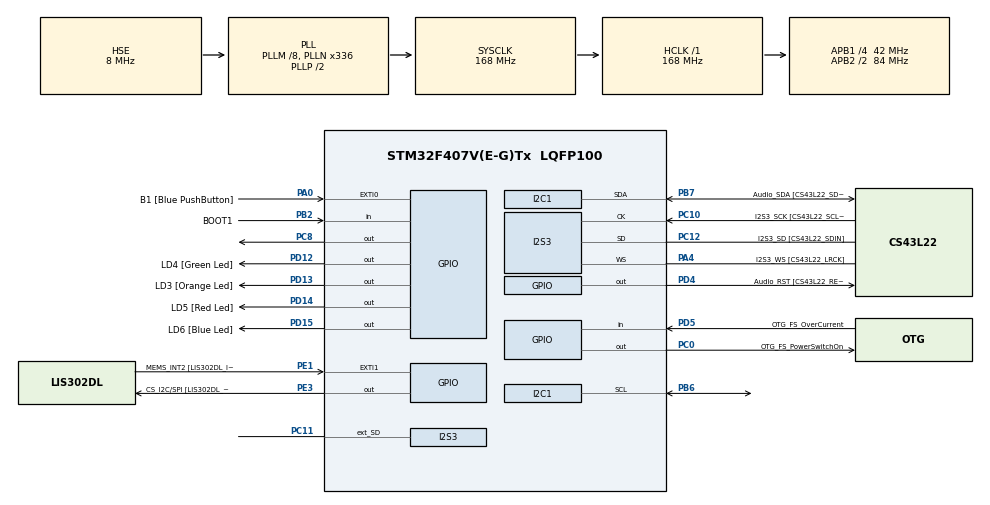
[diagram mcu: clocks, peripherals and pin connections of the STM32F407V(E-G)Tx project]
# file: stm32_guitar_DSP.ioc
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Dma.I2S3_EXT_RX.1.Direction=DMA_PERIPH_TO_MEMORY
Dma.I2S3_EXT_RX.1.FIFOMode=DMA_FIFOMODE_DISABLE
Dma.I2S3_EXT_RX.1.Instance=DMA1_Stream0
Dma.I2S3_EXT_RX.1.MemDataAlignment=DMA_MDATAALIGN_HALFWORD
Dma.I2S3_EXT_RX.1.MemInc=DMA_MINC_ENABLE
Dma.I2S3_EXT_RX.1.Mode=DMA_CIRCULAR
Dma.I2S3_EXT_RX.1.PeriphDataAlignment=DMA_PDATAALIGN_HALFWORD
Dma.I2S3_EXT_RX.1.PeriphInc=DMA_PINC_DISABLE
Dma.I2S3_EXT_RX.1.Priority=DMA_PRIORITY_HIGH
Dma.Request0=SPI3_TX
Dma.Request1=I2S3_EXT_RX
Dma.SPI3_TX.0.Direction=DMA_MEMORY_TO_PERIPH
Dma.SPI3_TX.0.FIFOMode=DMA_FIFOMODE_DISABLE
Dma.SPI3_TX.0.Instance=DMA1_Stream5
Dma.SPI3_TX.0.MemDataAlignment=DMA_MDATAALIGN_HALFWORD
Dma.SPI3_TX.0.MemInc=DMA_MINC_ENABLE
Dma.SPI3_TX.0.Mode=DMA_CIRCULAR
Dma.SPI3_TX.0.PeriphDataAlignment=DMA_PDATAALIGN_HALFWORD
Dma.SPI3_TX.0.PeriphInc=DMA_PINC_DISABLE
Dma.SPI3_TX.0.Priority=DMA_PRIORITY_HIGH
I2S3.AudioFreq=I2S_AUDIOFREQ_48K
I2S3.ErrorAudioFreq=-0.01 %
I2S3.FullDuplexMode=I2S_FULLDUPLEXMODE_ENABLE
I2S3.Instance=SPI$Index
I2S3.RealAudioFreq=47.991 KHz
I2S3.Standard=I2S_STANDARD_PHILIPS
I2S3.VirtualMode=I2S_MODE_SLAVE
Mcu.Family=STM32F4
Mcu.Name=STM32F407V(E-G)Tx
Mcu.Package=LQFP100
NVIC.DMA1_Stream0_IRQn=true\:0\:0\:false\:false\:true\:false\:true\:true
NVIC.DMA1_Stream5_IRQn=true\:0\:0\:false\:false\:true\:false\:true\:true
NVIC.PriorityGroup=NVIC_PRIORITYGROUP_0
PA0-WKUP.GPIO_Label=B1 [Blue PushButton]
PA0-WKUP.GPIO_ModeDefaultEXTI=GPIO_MODE_EVT_RISING
PA0-WKUP.GPIO_PuPd=GPIO_NOPULL
PA0-WKUP.Signal=GPXTI0
PA10.GPIO_Label=OTG_FS_ID
PA10.GPIO_Mode=GPIO_MODE_AF_PP
PA10.GPIO_PuPd=GPIO_NOPULL
PA10.GPIO_Speed=GPIO_SPEED_FREQ_LOW
PA10.Signal=USB_OTG_FS_ID
PA11.GPIO_Label=OTG_FS_DM
PA11.GPIO_Mode=GPIO_MODE_AF_PP
PA11.GPIO_PuPd=GPIO_NOPULL
PA11.GPIO_Speed=GPIO_SPEED_FREQ_LOW
PA11.Signal=USB_OTG_FS_DM
PA12.GPIO_Label=OTG_FS_DP
PA12.GPIO_Mode=GPIO_MODE_AF_PP
PA12.GPIO_PuPd=GPIO_NOPULL
PA12.GPIO_Speed=GPIO_SPEED_FREQ_LOW
PA12.Signal=USB_OTG_FS_DP
PA13.GPIO_Label=SWDIO
PA13.Mode=Serial_Wire
PA13.Signal=SYS_JTMS-SWDIO
PA14.GPIO_Label=SWCLK
PA14.Mode=Serial_Wire
PA14.Signal=SYS_JTCK-SWCLK
PA4.GPIO_Label=I2S3_WS [CS43L22_LRCK]
PA4.GPIO_Mode=GPIO_MODE_AF_PP
PA4.GPIO_PuPd=GPIO_NOPULL
PA4.GPIO_Speed=GPIO_SPEED_FREQ_LOW
PA4.Mode=Full_Duplex_Slave
PA4.Signal=I2S3_WS
PA5.GPIO_Label=SPI1_SCK [LIS302DL_SCL/SPC]
PA5.GPIO_Mode=GPIO_MODE_AF_PP
PA5.GPIO_PuPd=GPIO_NOPULL
PA5.GPIO_Speed=GPIO_SPEED_FREQ_LOW
PA5.Signal=SPI1_SCK
PA6.GPIO_Label=SPI1_MISO [LIS302DL_SDO]
PA6.GPIO_Mode=GPIO_MODE_AF_PP
PA6.GPIO_PuPd=GPIO_NOPULL
PA6.GPIO_Speed=GPIO_SPEED_FREQ_LOW
PA6.Signal=SPI1_MISO
PA7.GPIO_Label=SPI1_MOSI [LIS302DL_SDA/SDI/SDO]
PA7.GPIO_Mode=GPIO_MODE_AF_PP
PA7.GPIO_PuPd=GPIO_NOPULL
PA7.GPIO_Speed=GPIO_SPEED_FREQ_LOW
PA7.Signal=SPI1_MOSI
PA9.GPIO_Label=VBUS_FS
PA9.GPIO_Mode=GPIO_MODE_INPUT
PA9.GPIO_PuPd=GPIO_NOPULL
PA9.Signal=USB_OTG_FS_VBUS
PB10.GPIO_Label=CLK_IN [MP45DT02_CLK]
PB10.GPIO_Mode=GPIO_MODE_AF_PP
PB10.GPIO_PuPd=GPIO_NOPULL
PB10.GPIO_Speed=GPIO_SPEED_FREQ_LOW
PB10.Signal=I2S2_CK
PB2.GPIO_Label=BOOT1
PB2.GPIO_Mode=GPIO_MODE_INPUT
PB2.GPIO_PuPd=GPIO_NOPULL
PB2.Signal=GPIO_Input
PB3.GPIO_Label=SWO
PB3.Signal=SYS_JTDO-SWO
PB6.Mode=I2C
PB6.Signal=I2C1_SCL
PB7.GPIO_Label=Audio_SDA [CS43L22_SDA]
PB7.GPIO_Mode=GPIO_MODE_AF_OD
PB7.GPIO_Pu=GPIO_PULLUP
PB7.GPIO_Speed=GPIO_SPEED_FREQ_LOW
PB7.Mode=I2C
PB7.Signal=I2C1_SDA
PC0.GPIO_Label=OTG_FS_PowerSwitchOn
PC0.GPIO_PuPd=GPIO_NOPULL
PC0.GPIO_Speed=GPIO_SPEED_FREQ_LOW
PC0.PinState=GPIO_PIN_SET
PC0.Signal=GPIO_Output
PC10.GPIO_Label=I2S3_SCK [CS43L22_SCLK]
PC10.GPIO_Mode=GPIO_MODE_AF_PP
PC10.GPIO_PuPd=GPIO_NOPULL
PC10.GPIO_Speed=GPIO_SPEED_FREQ_LOW
PC10.Mode=Full_Duplex_Slave
PC10.Signal=I2S3_CK
PC11.Mode=Full_Duplex_Slave
PC11.Signal=I2S3_ext_SD
PC12.GPIO_Label=I2S3_SD [CS43L22_SDIN]
PC12.GPIO_Mode=GPIO_MODE_AF_PP
PC12.GPIO_PuPd=GPIO_NOPULL
PC12.GPIO_Speed=GPIO_SPEED_FREQ_LOW
PC12.Mode=Full_Duplex_Slave
PC12.Signal=I2S3_SD
PC14-OSC32_IN.GPIO_Label=PC14-OSC32_IN
PC14-OSC32_IN.Mode=LSE-External-Oscillator
PC14-OSC32_IN.Signal=RCC_OSC32_IN
PC15-OSC32_OUT.GPIO_Label=PC15-OSC32_OUT
PC15-OSC32_OUT.Mode=LSE-External-Oscillator
PC15-OSC32_OUT.Signal=RCC_OSC32_OUT
PC3.GPIO_Label=PDM_OUT [MP45DT02_DOUT]
PC3.GPIO_Mode=GPIO_MODE_AF_PP
PC3.GPIO_PuPd=GPIO_NOPULL
PC3.GPIO_Speed=GPIO_SPEED_FREQ_LOW
PC3.Signal=I2S2_SD
PC7.GPIO_Label=I2S3_MCK [CS43L22_MCLK]
PC7.GPIO_Mode=GPIO_MODE_AF_PP
PC7.GPIO_PuPd=GPIO_NOPULL
PC7.GPIO_Speed=GPIO_SPEED_FREQ_LOW
PC7.Signal=I2S3_MCK
PC8.Signal=GPIO_Output
PD12.GPIO_Label=LD4 [Green Led]
PD12.GPIO_PuPd=GPIO_NOPULL
PD12.GPIO_Speed=GPIO_SPEED_FREQ_LOW
PD12.Signal=GPIO_Output
PD13.GPIO_Label=LD3 [Orange Led]
PD13.GPIO_PuPd=GPIO_NOPULL
PD13.GPIO_Speed=GPIO_SPEED_FREQ_LOW
PD13.Signal=GPIO_Output
PD14.GPIO_Label=LD5 [Red Led]
PD14.GPIO_PuPd=GPIO_NOPULL
PD14.GPIO_Speed=GPIO_SPEED_FREQ_LOW
PD14.Signal=GPIO_Output
PD15.GPIO_Label=LD6 [Blue Led]
PD15.GPIO_PuPd=GPIO_NOPULL
PD15.GPIO_Speed=GPIO_SPEED_FREQ_LOW
PD15.Signal=GPIO_Output
PD4.GPIO_Label=Audio_RST [CS43L22_RESET]
PD4.GPIO_PuPd=GPIO_NOPULL
PD4.GPIO_Speed=GPIO_SPEED_FREQ_LOW
PD4.Signal=GPIO_Output
PD5.GPIO_Label=OTG_FS_OverCurrent
PD5.GPIO_Mode=GPIO_MODE_INPUT
PD5.GPIO_PuPd=GPIO_NOPULL
PD5.Signal=GPIO_Input
PE1.GPIO_Label=MEMS_INT2 [LIS302DL_INT2]
PE1.GPIO_ModeDefaultEXTI=GPIO_MODE_EVT_RISING
PE1.GPIO_PuPd=GPIO_NOPULL
PE1.Signal=GPXTI1
PE3.GPIO_Label=CS_I2C/SPI [LIS302DL_CS_I2C/SPI]
PE3.GPIO_PuPd=GPIO_NOPULL
PE3.GPIO_Speed=GPIO_SPEED_FREQ_LOW
PE3.Signal=GPIO_Output
PH0-OSC_IN.GPIO_Label=PH0-OSC_IN
PH0-OSC_IN.Mode=HSE-External-Oscillator
PH0-OSC_IN.Signal=RCC_OSC_IN
PH1-OSC_OUT.GPIO_Label=PH1-OSC_OUT
PH1-OSC_OUT.Mode=HSE-External-Oscillator
PH1-OSC_OUT.Signal=RCC_OSC_OUT
ProjectManager.HeapSize=0x200
ProjectManager.StackSize=0x400
ProjectManager.TargetToolchain=STM32CubeIDE
RCC.48MHZClocksFreq_Value=48000000
RCC.AHBFreq_Value=168000000
RCC.APB1CLKDivider=RCC_HCLK_DIV4
RCC.APB1Freq_Value=42000000
RCC.APB1TimFreq_Value=84000000
RCC.APB2CLKDivider=RCC_HCLK_DIV2
RCC.APB2Freq_Value=84000000
RCC.APB2TimFreq_Value=168000000
RCC.CortexFreq_Value=168000000
RCC.HCLKFreq_Value=168000000
RCC.HSE_VALUE=8000000
RCC.HSI_VALUE=16000000
RCC.PLLI2SN=344
RCC.PLLM=8
RCC.PLLN=336
RCC.PLLQ=7
RCC.PLLSourceVirtual=RCC_PLLSOURCE_HSE
RCC.SYSCLKFreq_VALUE=168000000
RCC.SYSCLKSource=RCC_SYSCLKSOURCE_PLLCLK
RCC.VCOOutputFreq_Value=336000000
board=STM32F407G-DISC1

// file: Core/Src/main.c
/* USER CODE BEGIN Header */
/**
  ******************************************************************************
  * @file           : main.c
  * @brief          : Main program body
  ******************************************************************************
  * @attention
  *
  * Copyright (c) 2026 STMicroelectronics.
  * All rights reserved.
  *
  * This software is licensed under terms that can be found in the LICENSE file
  * in the root directory of this software component.
  * If no LICENSE file comes with this software, it is provided AS-IS.
  *
  ******************************************************************************
  */
/* USER CODE END Header */
#include "main.h"

/* USER CODE BEGIN Includes */
#include "wm8731.h"
#include <string.h>
#include "audio.h"
#include "esp32.h"
#include "fft.h"
/* USER CODE END Includes */

I2C_HandleTypeDef hi2c1;

I2S_HandleTypeDef hi2s3;
DMA_HandleTypeDef hdma_spi3_tx;
DMA_HandleTypeDef hdma_i2s3_ext_rx;

/* USER CODE BEGIN PV */
// 4 ramki stereo = 8 półsłów -> przerwanie co 2 ramki (24 kHz). Przy 256 (64 ramki na połówkę)
// CPU pracował zrywami co 1.33 ms i to wchodziło do ADC kodeka jako pisk 750 Hz + harmoniczne.
// Teraz zakłócenia lądują na 24 kHz, poza pasmem.
#define I2S_BUF_HALFWORDS 8
volatile int16_t i2s_rx_buf[I2S_BUF_HALFWORDS];
volatile int16_t i2s_tx_buf[I2S_BUF_HALFWORDS];

// liczniki błędów I2S (podgląd w debuggerze)
volatile uint8_t  i2s_error_flag = 0;
volatile uint32_t i2s_error_count = 0;
volatile uint32_t i2s_last_error = 0;

volatile uint32_t cnt_fre = 0, cnt_udr = 0, cnt_ovr = 0;

static uint8_t codec_fault = 0;      // błąd inicjalizacji kodeka (niebieska LED)
static uint8_t linvol_set = 0xFF;    // linvol zapisany w kodeku, 0xFF = zapisz jeszcze raz
static int8_t out_db_set = 0;        // out_db zapisany w kodeku (WM8731_Init ustawia 0 dB)
/* USER CODE END PV */

void SystemClock_Config(void);
static void MX_GPIO_Init(void);
static void MX_DMA_Init(void);
static void MX_I2C1_Init(void);
static void MX_I2S3_Init(void);

/* USER CODE BEGIN 0 */

static void Audio_Restart(void)
{
    // Bez przerwań audio na czas restartu (Audio_Process nie może wejść w połowie)
    HAL_NVIC_DisableIRQ(DMA1_Stream0_IRQn);
    HAL_NVIC_DisableIRQ(DMA1_Stream5_IRQn);

    HAL_I2S_DMAStop(&hi2s3);
    memset((void*)i2s_tx_buf, 0, sizeof(i2s_tx_buf));
    memset((void*)i2s_rx_buf, 0, sizeof(i2s_rx_buf));

    WM8731_Init(&hi2c1);
    linvol_set = 0xFF;   // reset kodeka przywrócił domyślne wzmocnienie wejścia
    out_db_set = 0;      // i wyjście 0 dB

    __HAL_RCC_SPI3_FORCE_RESET();
    __HAL_RCC_SPI3_RELEASE_RESET();
    MX_I2S3_Init();

    HAL_NVIC_EnableIRQ(DMA1_Stream0_IRQn);
    HAL_NVIC_EnableIRQ(DMA1_Stream5_IRQn);

    HAL_I2SEx_TransmitReceive_DMA(&hi2s3, (uint16_t*)i2s_tx_buf,
                                  (uint16_t*)i2s_rx_buf, I2S_BUF_HALFWORDS);
    __HAL_DMA_DISABLE_IT(&hdma_spi3_tx, DMA_IT_TC);   // TX nie ma callbacków, jego przerwanie to tylko dodatkowe zakłócenia
    HAL_Delay(10);
    WM8731_SyncInit(&hi2c1);
}

/* USER CODE END 0 */

int main(void)
{

  /* MCU Configuration--------------------------------------------------------*/

  /* Reset of all peripherals, Initializes the Flash interface and the Systick. */
  HAL_Init();

  /* Configure the system clock */
  SystemClock_Config();

  /* Initialize all configured peripherals */
  MX_GPIO_Init();
  MX_DMA_Init();
  MX_I2C1_Init();
  MX_I2S3_Init();
  /* USER CODE BEGIN 2 */
  HAL_NVIC_SetPriority(SPI3_IRQn, 1, 0);
  HAL_NVIC_EnableIRQ(SPI3_IRQn);
  Audio_Init();
  HAL_Delay(5);

  memset((void*)i2s_tx_buf, 0, sizeof(i2s_tx_buf));
  memset((void*)i2s_rx_buf, 0, sizeof(i2s_rx_buf));

  if (WM8731_Init(&hi2c1) != HAL_OK) {
	  GPIOD->ODR |= (1 << 15);
	  codec_fault = 1;
  }

  __HAL_RCC_SPI3_FORCE_RESET();
  __HAL_RCC_SPI3_RELEASE_RESET();

  MX_I2S3_Init();

  if (HAL_I2SEx_TransmitReceive_DMA(&hi2s3,
            (uint16_t*)i2s_tx_buf,
            (uint16_t*)i2s_rx_buf,
            I2S_BUF_HALFWORDS) != HAL_OK) {
	  GPIOD->ODR |= (1 << 14);
        Error_Handler();
  }
  __HAL_DMA_DISABLE_IT(&hdma_spi3_tx, DMA_IT_TC);

  HAL_Delay(10);

  if (WM8731_SyncInit(&hi2c1) != HAL_OK) {
  	  GPIOD->ODR |= (1 << 15);
  	  codec_fault = 1;
    }

  // UART do ESP32 (USART3 PD8/PD9), wysyła "HELLO"
  ESP32_Init();

  /* USER CODE END 2 */

  /* Infinite loop */
  while (1)
  {

    /* USER CODE BEGIN 3 */
	  // I2S fail restart
	  uint32_t sr3 = SPI3->SR;
	  uint32_t srx = I2S3ext->SR;
	  if (sr3 & SPI_SR_FRE) cnt_fre++;
	  if (sr3 & SPI_SR_UDR) cnt_udr++;
	  if (srx & SPI_SR_OVR) cnt_ovr++;
	  if (cnt_fre) {
	      cnt_fre = 0;
	      Audio_Restart();
	  }

	  // komendy z ESP32
	  ESP32_Poll();

	  // nowe współczynniki filtrów, gdy zmieniły się parametry
	  Audio_Update();

	  // wzmocnienie wejścia kodeka, tylko po zmianie (nigdy ponad 0 dB - ADC kodeka się zawiesza)
	  uint8_t linvol = (uint8_t)audio_params.linvol;
	  if (linvol > WM8731_LINVOL_MAX) linvol = WM8731_LINVOL_MAX;
	  if (linvol != linvol_set) {
		  if (WM8731_SetLineInVolume(&hi2c1, linvol) == HAL_OK)
			  linvol_set = linvol;
	  }

	  // głośność wyjścia słuchawkowego, tylko po zmianie. Tłumienie analogowe w kodeku (za DAC),
	  // więc szum DAC spada razem z sygnałem - inaczej niż przy cyfrowym volume
	  int8_t out_db = (int8_t)audio_params.out_db;
	  if (out_db != out_db_set) {
		  if (WM8731_SetHeadphoneVolume(&hi2c1, out_db) == HAL_OK)
			  out_db_set = out_db;
	  }

	  // przycisk B1 (PA0): następny efekt przy wciśnięciu (zbocze 0 -> 1).
	  // Odczyt co ~10 ms, więc drgania styków się nie liczą
	  static uint8_t btn_prev = 0;
	  uint8_t btn = (GPIOA->IDR & GPIO_PIN_0) != 0;
	  if (btn && !btn_prev) {
		  Audio_NextEffect();
		  ESP32_SendParam("fx_dist");
		  ESP32_SendParam("fx_chorus");
		  ESP32_SendParam("fx_echo");
		  ESP32_SendParam("fx_reverb");
	  }
	  btn_prev = btn;

	  // widmo wyjścia do ESP32 co 100 ms (włączane z ESP32: "SET fft 1")
	  static uint32_t fft_time = 0;
	  if (audio_params.fft && HAL_GetTick() - fft_time >= 100) {
		  fft_time = HAL_GetTick();
		  uint8_t bands[FFT_BANDS];
		  FFT_Bands(bands);
		  ESP32_SendFFT(bands);
	  }

	  // diody = włączone efekty (w bypassie zgaszone): zielona DIST, pomarańczowa CHORUS,
	  // czerwona ECHO, niebieska REVERB (niebieska świeci też przy błędzie kodeka)
	  uint32_t leds = 0;
	  if (!audio_params.bypass) {
		  if (audio_params.fx_dist)   leds |= (1 << 12);
		  if (audio_params.fx_chorus) leds |= (1 << 13);
		  if (audio_params.fx_echo)   leds |= (1 << 14);
		  if (audio_params.fx_reverb) leds |= (1 << 15);
	  }
	  if (codec_fault) leds |= (1 << 15);
	  GPIOD->ODR = (GPIOD->ODR & ~(0xFUL << 12)) | leds;

    HAL_Delay(10);

  }
  /* USER CODE END 3 */
}

void SystemClock_Config(void)
{
  RCC_OscInitTypeDef RCC_OscInitStruct = {0};
  RCC_ClkInitTypeDef RCC_ClkInitStruct = {0};

  /** Configure the main internal regulator output voltage
  */
  __HAL_RCC_PWR_CLK_ENABLE();
  __HAL_PWR_VOLTAGESCALING_CONFIG(PWR_REGULATOR_VOLTAGE_SCALE1);

  /** Initializes the RCC Oscillators according to the specified parameters
  * in the RCC_OscInitTypeDef structure.
  */
  RCC_OscInitStruct.OscillatorType = RCC_OSCILLATORTYPE_HSE;
  RCC_OscInitStruct.HSEState = RCC_HSE_ON;
  RCC_OscInitStruct.PLL.PLLState = RCC_PLL_ON;
  RCC_OscInitStruct.PLL.PLLSource = RCC_PLLSOURCE_HSE;
  RCC_OscInitStruct.PLL.PLLM = 8;
  RCC_OscInitStruct.PLL.PLLN = 336;
  RCC_OscInitStruct.PLL.PLLP = RCC_PLLP_DIV2;
  RCC_OscInitStruct.PLL.PLLQ = 7;
  if (HAL_RCC_OscConfig(&RCC_OscInitStruct) != HAL_OK)
  {
    Error_Handler();
  }

  /** Initializes the CPU, AHB and APB buses clocks
  */
  RCC_ClkInitStruct.ClockType = RCC_CLOCKTYPE_HCLK|RCC_CLOCKTYPE_SYSCLK
                              |RCC_CLOCKTYPE_PCLK1|RCC_CLOCKTYPE_PCLK2;
  RCC_ClkInitStruct.SYSCLKSource = RCC_SYSCLKSOURCE_PLLCLK;
  RCC_ClkInitStruct.AHBCLKDivider = RCC_SYSCLK_DIV1;
  RCC_ClkInitStruct.APB1CLKDivider = RCC_HCLK_DIV4;
  RCC_ClkInitStruct.APB2CLKDivider = RCC_HCLK_DIV2;

  if (HAL_RCC_ClockConfig(&RCC_ClkInitStruct, FLASH_LATENCY_5) != HAL_OK)
  {
    Error_Handler();
  }
}

static void MX_I2C1_Init(void)
{

  hi2c1.Instance = I2C1;
  hi2c1.Init.ClockSpeed = 100000;
  hi2c1.Init.DutyCycle = I2C_DUTYCYCLE_2;
  hi2c1.Init.OwnAddress1 = 0;
  hi2c1.Init.AddressingMode = I2C_ADDRESSINGMODE_7BIT;
  hi2c1.Init.DualAddressMode = I2C_DUALADDRESS_DISABLE;
  hi2c1.Init.OwnAddress2 = 0;
  hi2c1.Init.GeneralCallMode = I2C_GENERALCALL_DISABLE;
  hi2c1.Init.NoStretchMode = I2C_NOSTRETCH_DISABLE;
  if (HAL_I2C_Init(&hi2c1) != HAL_OK)
  {
    Error_Handler();
  }

}

static void MX_I2S3_Init(void)
{

  hi2s3.Instance = SPI3;
  hi2s3.Init.Mode = I2S_MODE_SLAVE_TX;
  hi2s3.Init.Standard = I2S_STANDARD_PHILIPS;
  hi2s3.Init.DataFormat = I2S_DATAFORMAT_16B_EXTENDED;
  hi2s3.Init.MCLKOutput = I2S_MCLKOUTPUT_DISABLE;
  hi2s3.Init.AudioFreq = I2S_AUDIOFREQ_48K;
  hi2s3.Init.CPOL = I2S_CPOL_LOW;
  hi2s3.Init.ClockSource = I2S_CLOCK_PLL;
  hi2s3.Init.FullDuplexMode = I2S_FULLDUPLEXMODE_ENABLE;
  if (HAL_I2S_Init(&hi2s3) != HAL_OK)
  {
    Error_Handler();
  }

}

static void MX_DMA_Init(void)
{

  /* DMA controller clock enable */
  __HAL_RCC_DMA1_CLK_ENABLE();

  /* DMA interrupt init */
  /* DMA1_Stream0_IRQn interrupt configuration */
  HAL_NVIC_SetPriority(DMA1_Stream0_IRQn, 0, 0);
  HAL_NVIC_EnableIRQ(DMA1_Stream0_IRQn);
  /* DMA1_Stream5_IRQn interrupt configuration */
  HAL_NVIC_SetPriority(DMA1_Stream5_IRQn, 0, 0);
  HAL_NVIC_EnableIRQ(DMA1_Stream5_IRQn);

}

static void MX_GPIO_Init(void)
{
  GPIO_InitTypeDef GPIO_InitStruct = {0};

  /* GPIO Ports Clock Enable */
  __HAL_RCC_GPIOE_CLK_ENABLE();
  __HAL_RCC_GPIOC_CLK_ENABLE();
  __HAL_RCC_GPIOH_CLK_ENABLE();
  __HAL_RCC_GPIOA_CLK_ENABLE();
  __HAL_RCC_GPIOB_CLK_ENABLE();
  __HAL_RCC_GPIOD_CLK_ENABLE();

  /*Configure GPIO pin Output Level */
  HAL_GPIO_WritePin(CS_I2C_SPI_GPIO_Port, CS_I2C_SPI_Pin, GPIO_PIN_RESET);

  /*Configure GPIO pin Output Level */
  HAL_GPIO_WritePin(OTG_FS_PowerSwitchOn_GPIO_Port, OTG_FS_PowerSwitchOn_Pin, GPIO_PIN_SET);

  /*Configure GPIO pin Output Level */
  HAL_GPIO_WritePin(GPIOD, LD4_Pin|LD3_Pin|LD5_Pin|LD6_Pin
                          |Audio_RST_Pin, GPIO_PIN_RESET);

  /*Configure GPIO pin Output Level */
  HAL_GPIO_WritePin(GPIOC, GPIO_PIN_8, GPIO_PIN_RESET);

  /*Configure GPIO pin : CS_I2C_SPI_Pin */
  GPIO_InitStruct.Pin = CS_I2C_SPI_Pin;
  GPIO_InitStruct.Mode = GPIO_MODE_OUTPUT_PP;
  GPIO_InitStruct.Pull = GPIO_NOPULL;
  GPIO_InitStruct.Speed = GPIO_SPEED_FREQ_LOW;
  HAL_GPIO_Init(CS_I2C_SPI_GPIO_Port, &GPIO_InitStruct);

  /*Configure GPIO pins : OTG_FS_PowerSwitchOn_Pin PC8 */
  GPIO_InitStruct.Pin = OTG_FS_PowerSwitchOn_Pin|GPIO_PIN_8;
  GPIO_InitStruct.Mode = GPIO_MODE_OUTPUT_PP;
  GPIO_InitStruct.Pull = GPIO_NOPULL;
  GPIO_InitStruct.Speed = GPIO_SPEED_FREQ_LOW;
  HAL_GPIO_Init(GPIOC, &GPIO_InitStruct);

  /*Configure GPIO pin : PDM_OUT_Pin */
  GPIO_InitStruct.Pin = PDM_OUT_Pin;
  GPIO_InitStruct.Mode = GPIO_MODE_AF_PP;
  GPIO_InitStruct.Pull = GPIO_NOPULL;
  GPIO_InitStruct.Speed = GPIO_SPEED_FREQ_LOW;
  GPIO_InitStruct.Alternate = GPIO_AF5_SPI2;
  HAL_GPIO_Init(PDM_OUT_GPIO_Port, &GPIO_InitStruct);

  /*Configure GPIO pin : B1_Pin */
  GPIO_InitStruct.Pin = B1_Pin;
  GPIO_InitStruct.Mode = GPIO_MODE_EVT_RISING;
  GPIO_InitStruct.Pull = GPIO_NOPULL;
  HAL_GPIO_Init(B1_GPIO_Port, &GPIO_InitStruct);

  /*Configure GPIO pins : SPI1_SCK_Pin SPI1_MISO_Pin SPI1_MOSI_Pin */
  GPIO_InitStruct.Pin = SPI1_SCK_Pin|SPI1_MISO_Pin|SPI1_MOSI_Pin;
  GPIO_InitStruct.Mode = GPIO_MODE_AF_PP;
  GPIO_InitStruct.Pull = GPIO_NOPULL;
  GPIO_InitStruct.Speed = GPIO_SPEED_FREQ_LOW;
  GPIO_InitStruct.Alternate = GPIO_AF5_SPI1;
  HAL_GPIO_Init(GPIOA, &GPIO_InitStruct);

  /*Configure GPIO pin : BOOT1_Pin */
  GPIO_InitStruct.Pin = BOOT1_Pin;
  GPIO_InitStruct.Mode = GPIO_MODE_INPUT;
  GPIO_InitStruct.Pull = GPIO_NOPULL;
  HAL_GPIO_Init(BOOT1_GPIO_Port, &GPIO_InitStruct);

  /*Configure GPIO pin : CLK_IN_Pin */
  GPIO_InitStruct.Pin = CLK_IN_Pin;
  GPIO_InitStruct.Mode = GPIO_MODE_AF_PP;
  GPIO_InitStruct.Pull = GPIO_NOPULL;
  GPIO_InitStruct.Speed = GPIO_SPEED_FREQ_LOW;
  GPIO_InitStruct.Alternate = GPIO_AF5_SPI2;
  HAL_GPIO_Init(CLK_IN_GPIO_Port, &GPIO_InitStruct);

  /*Configure GPIO pins : LD4_Pin LD3_Pin LD5_Pin LD6_Pin
                           Audio_RST_Pin */
  GPIO_InitStruct.Pin = LD4_Pin|LD3_Pin|LD5_Pin|LD6_Pin
                          |Audio_RST_Pin;
  GPIO_InitStruct.Mode = GPIO_MODE_OUTPUT_PP;
  GPIO_InitStruct.Pull = GPIO_NOPULL;
  GPIO_InitStruct.Speed = GPIO_SPEED_FREQ_LOW;
  HAL_GPIO_Init(GPIOD, &GPIO_InitStruct);

  /*Configure GPIO pin : VBUS_FS_Pin */
  GPIO_InitStruct.Pin = VBUS_FS_Pin;
  GPIO_InitStruct.Mode = GPIO_MODE_INPUT;
  GPIO_InitStruct.Pull = GPIO_NOPULL;
  HAL_GPIO_Init(VBUS_FS_GPIO_Port, &GPIO_InitStruct);

  /*Configure GPIO pins : OTG_FS_ID_Pin OTG_FS_DM_Pin OTG_FS_DP_Pin */
  GPIO_InitStruct.Pin = OTG_FS_ID_Pin|OTG_FS_DM_Pin|OTG_FS_DP_Pin;
  GPIO_InitStruct.Mode = GPIO_MODE_AF_PP;
  GPIO_InitStruct.Pull = GPIO_NOPULL;
  GPIO_InitStruct.Speed = GPIO_SPEED_FREQ_LOW;
  GPIO_InitStruct.Alternate = GPIO_AF10_OTG_FS;
  HAL_GPIO_Init(GPIOA, &GPIO_InitStruct);

  /*Configure GPIO pin : OTG_FS_OverCurrent_Pin */
  GPIO_InitStruct.Pin = OTG_FS_OverCurrent_Pin;
  GPIO_InitStruct.Mode = GPIO_MODE_INPUT;
  GPIO_InitStruct.Pull = GPIO_NOPULL;
  HAL_GPIO_Init(OTG_FS_OverCurrent_GPIO_Port, &GPIO_InitStruct);

  /*Configure GPIO pin : MEMS_INT2_Pin */
  GPIO_InitStruct.Pin = MEMS_INT2_Pin;
  GPIO_InitStruct.Mode = GPIO_MODE_EVT_RISING;
  GPIO_InitStruct.Pull = GPIO_NOPULL;
  HAL_GPIO_Init(MEMS_INT2_GPIO_Port, &GPIO_InitStruct);

}

/* USER CODE BEGIN 4 */
// Przerwanie RX DMA (DMA1_Stream0) obsługiwane samemu zamiast HAL_DMA_IRQHandler + callbacków.
// Obie połówki bufora idą tą samą ścieżką kodu, więc CPU robi to samo co 2 ramki (24 kHz).
// Przez HAL połówka HT i TC miały inną długość obsługi -> ton 12 kHz i więcej szumu w ADC.
// Zwraca 0 przy błędzie DMA (TE/DME), wtedy przerwanie obsługuje HAL.
uint32_t Audio_DMA_RxIRQ(void) // source: [RM0090] rozdz. DMA (flagi HTIF/TCIF w LISR, kasowanie w LIFCR)
{
    uint32_t lisr = DMA1->LISR;

    if (lisr & (DMA_LISR_TEIF0 | DMA_LISR_DMEIF0)) return 0;
    if (!(lisr & (DMA_LISR_HTIF0 | DMA_LISR_TCIF0))) return 0;

    // TC = druga połowa bufora gotowa, HT = pierwsza
    uint32_t half = (lisr & DMA_LISR_TCIF0) ? 1 : 0;
    DMA1->LIFCR = half ? DMA_LIFCR_CTCIF0 : DMA_LIFCR_CHTIF0;

    uint32_t off = half * (I2S_BUF_HALFWORDS / 2);
    Audio_Process(&i2s_tx_buf[off], &i2s_rx_buf[off], I2S_BUF_HALFWORDS / 2);
    return 1;
}

void HAL_I2S_ErrorCallback(I2S_HandleTypeDef *hi2s)
{
    if (hi2s->Instance == SPI3) {
        i2s_last_error = hi2s->ErrorCode;
        i2s_error_count++;
        i2s_error_flag = 1;
    }
}
/* USER CODE END 4 */

void Error_Handler(void)
{
  __disable_irq();
  while (1)
  {
  }
}
